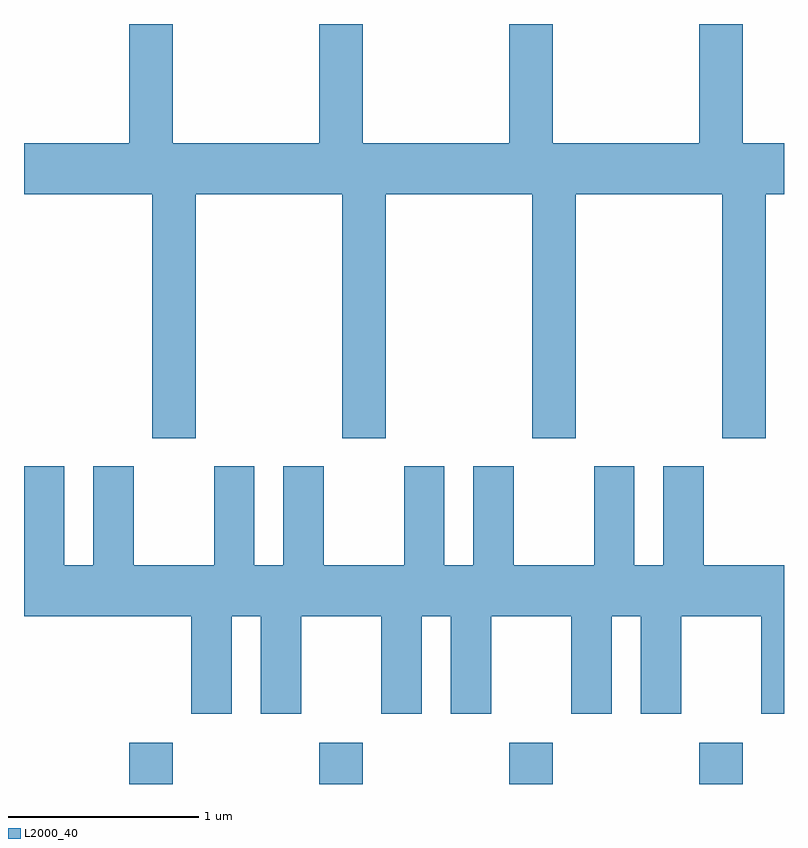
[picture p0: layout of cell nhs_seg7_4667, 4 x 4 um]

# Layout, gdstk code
import gdstk
lib = gdstk.Library(unit=1e-6, precision=1e-09)
def R(c, l, rs):  # rectangles x0, y0, x1, y1
    for r in rs: c.add(gdstk.rectangle(r[:2], r[2:], *l))
def A(c, l, x, y, w, h, nx, ny, dx, dy):  # array of equal rectangles
    R(c, l, [(x+i*dx, y+j*dy, x+i*dx+w, y+j*dy+h) for i in range(nx) for j in range(ny)])
def P(c, l, *ps):  # polygons
    for p in ps: c.add(gdstk.Polygon(p, *l))
L2000_40 = (2000, 40)

nhs_seg7_4667 = lib.new_cell('nhs_seg7_4667')
A(nhs_seg7_4667, L2000_40, 328.166, 1782.252, 0.228, 0.217, 4, 1, 1, 0)
P(nhs_seg7_4667, L2000_40, [(328.514,1785.356),(329.286,1785.356),(329.286,1784.071),(329.514,1784.071),(329.514,1785.356),(330.286,1785.356),(330.286,1784.071),(330.514,1784.071),(330.514,1785.356),(331.286,1785.356),(331.286,1784.071),(331.514,1784.071),(331.514,1785.356),(331.611,1785.356),(331.611,1785.624),(331.394,1785.624),(331.394,1786.252),(331.166,1786.252),(331.166,1785.624),(330.394,1785.624),(330.394,1786.252),(330.166,1786.252),(330.166,1785.624),(329.394,1785.624),(329.394,1786.252),(329.166,1786.252),(329.166,1785.624),(328.394,1785.624),(328.394,1786.252),(328.166,1786.252),(328.166,1785.624),(327.611,1785.624),(327.611,1785.356),(328.286,1785.356),(328.286,1784.071),(328.514,1784.071)],
  [(328.704,1783.136),(328.856,1783.136),(328.856,1782.621),(329.069,1782.621),(329.069,1783.136),(329.491,1783.136),(329.491,1782.621),(329.704,1782.621),(329.704,1783.136),(329.856,1783.136),(329.856,1782.621),(330.069,1782.621),(330.069,1783.136),(330.491,1783.136),(330.491,1782.621),(330.704,1782.621),(330.704,1783.136),(330.856,1783.136),(330.856,1782.621),(331.069,1782.621),(331.069,1783.136),(331.491,1783.136),(331.491,1782.621),(331.611,1782.621),(331.611,1783.404),(331.189,1783.404),(331.189,1783.924),(330.976,1783.924),(330.976,1783.404),(330.824,1783.404),(330.824,1783.924),(330.611,1783.924),(330.611,1783.404),(330.189,1783.404),(330.189,1783.924),(329.976,1783.924),(329.976,1783.404),(329.824,1783.404),(329.824,1783.924),(329.611,1783.924),(329.611,1783.404),(329.189,1783.404),(329.189,1783.924),(328.976,1783.924),(328.976,1783.404),(328.824,1783.404),(328.824,1783.924),(328.611,1783.924),(328.611,1783.404),(328.189,1783.404),(328.189,1783.924),(327.976,1783.924),(327.976,1783.404),(327.824,1783.404),(327.824,1783.924),(327.611,1783.924),(327.611,1783.136),(328.491,1783.136),(328.491,1782.621),(328.704,1782.621)])

lib.write_gds('nhs_seg7_4667.gds')
